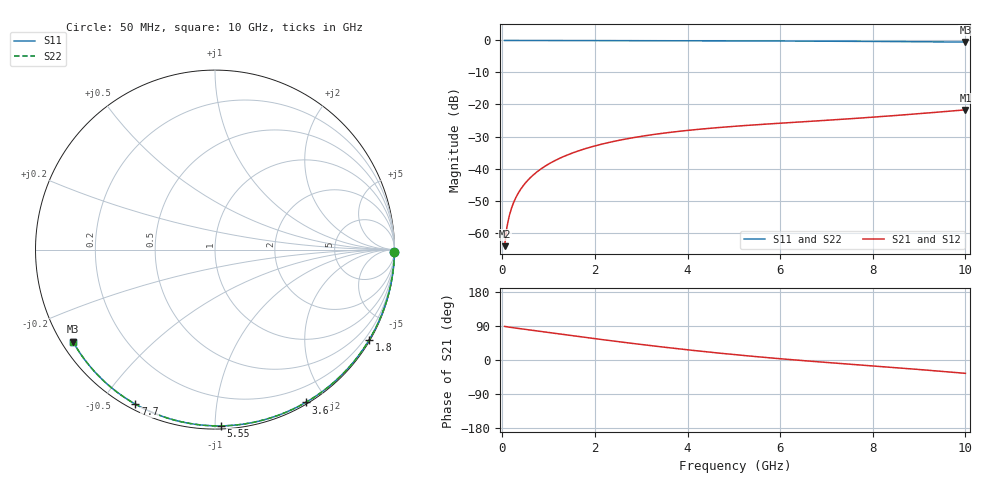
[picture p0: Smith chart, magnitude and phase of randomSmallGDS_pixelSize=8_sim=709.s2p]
! freq	dB(S11)	phase(S11)	dB(S12)	phase(S12)
!  dB(S21)	phase(S21)	dB(S22)	phase(S22)
!S-par simulation data
#  GHz  S  DB  R 50
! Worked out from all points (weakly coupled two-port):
!   200 points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, 50 MHz to 10 GHz, reference 50 ohm
!   highest |S21| = -21.67 dB at 10 GHz (marker M1); lowest = -64.3 dB at 50 MHz (marker M2)
!   lowest |S11| = -0.5 dB at 10 GHz (marker M3), VSWR 34.06, Z = 1.6 - j14.8 ohm
!   |S11| at or under -10 dB: nowhere
!   |S22| runs from -0.5 to 0.0 dB; largest |S21 - S12| = 0
!   S11 on the Smith chart (normalised r, x): 50 MHz: open; 1.8 GHz: 0.03, -3.67; 3.6 GHz: 0.02, -1.76; 5.55 GHz: 0.02, -1.03; 7.7 GHz: 0.02, -0.61; 10 GHz: 0.03, -0.30
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0.05  -0.00 -0.9  -64.25 88.7  -64.25 88.7  -0.00 -0.9
0.1  -0.00 -1.7  -58.27 87.6  -58.27 87.6  -0.00 -1.7
0.15  -0.00 -2.6  -54.80 86.6  -54.80 86.6  -0.00 -2.6
0.2  -0.00 -3.4  -52.34 85.7  -52.34 85.7  -0.00 -3.4
0.25  -0.00 -4.3  -50.43 84.9  -50.43 84.9  -0.00 -4.3
0.35  -0.00 -6.0  -47.56 83.3  -47.56 83.3  -0.00 -6.0
0.5  -0.01 -8.6  -44.50 80.8  -44.50 80.8  -0.01 -8.6
0.7  -0.01 -12.0  -41.63 77.6  -41.63 77.6  -0.01 -12.0
1  -0.02 -17.1  -38.60 72.6  -38.60 72.6  -0.02 -17.1
1.35  -0.03 -23.0  -36.10 66.9  -36.10 66.9  -0.03 -23.0
1.75  -0.04 -29.6  -33.99 60.3  -33.99 60.3  -0.04 -29.6
1.8  -0.04 -30.5  -33.77 59.5  -33.77 59.5  -0.04 -30.5
2.5  -0.06 -41.9  -31.25 48.5  -31.25 48.5  -0.06 -41.9
3.4  -0.08 -56.2  -29.11 35.2  -29.11 35.2  -0.08 -56.2
3.6  -0.08 -59.3  -28.74 32.4  -28.74 32.4  -0.08 -59.3
4.3  -0.11 -69.9  -27.67 23.0  -27.67 23.0  -0.11 -69.9
5.05  -0.13 -81.0  -26.77 13.8  -26.77 13.8  -0.13 -80.9
5.55  -0.15 -88.1  -26.27 8.1  -26.27 8.1  -0.15 -88.1
6.7  -0.21 -103.9  -25.21 -3.6  -25.21 -3.6  -0.21 -103.9
7.7  -0.28 -117.2  -24.27 -12.9  -24.27 -12.9  -0.28 -117.2
8.35  -0.33 -125.7  -23.59 -18.9  -23.59 -18.9  -0.33 -125.7
10  -0.51 -147.1  -21.67 -35.3  -21.67 -35.3  -0.51 -147.0
